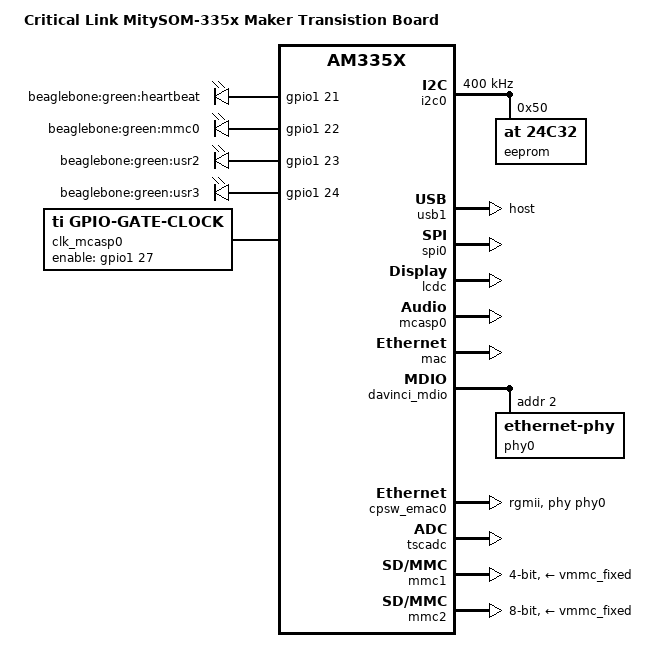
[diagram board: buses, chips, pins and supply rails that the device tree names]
/*
 * Copyright (C) 2012 Texas Instruments Incorporated - http://www.ti.com/
 *
 * This program is free software; you can redistribute it and/or modify
 * it under the terms of the GNU General Public License version 2 as
 * published by the Free Software Foundation.
 */
/dts-v1/;

#include "am335x-mitysom-common.dtsi"

/ {
	model = "Critical Link MitySOM-335x Maker Transistion Board";

	leds {
		pinctrl-names = "default", "sleep";
		pinctrl-0 = <&user_leds_default>;
		pinctrl-1 = <&user_leds_sleep>;

		compatible = "gpio-leds";

		led@2 {
			label = "beaglebone:green:heartbeat";
			gpios = <&gpio1 21 GPIO_ACTIVE_HIGH>;
			linux,default-trigger = "heartbeat";
			default-state = "off";
		};

		led@3 {
			label = "beaglebone:green:mmc0";
			gpios = <&gpio1 22 GPIO_ACTIVE_HIGH>;
			linux,default-trigger = "mmc0";
			default-state = "off";
		};

		led@4 {
			label = "beaglebone:green:usr2";
			gpios = <&gpio1 23 GPIO_ACTIVE_HIGH>;
			linux,default-trigger = "cpu0";
			default-state = "off";
		};

		led@5 {
			label = "beaglebone:green:usr3";
			gpios = <&gpio1 24 GPIO_ACTIVE_HIGH>;
			linux,default-trigger = "mmc1";
			default-state = "off";
		};
	};
};

&am33xx_pinmux {

	i2c0_pins: pinmux_i2c0_pins {
		pinctrl-single,pins = <
			AM33XX_IOPAD(0x988, PIN_INPUT_PULLUP | MUX_MODE0)	/* i2c0_sda.i2c0_sda */
			AM33XX_IOPAD(0x98C, PIN_INPUT_PULLUP | MUX_MODE0)	/* i2c0_scl.i2c0_scl */
		>;
	};

	/* EXPANSION 1 */
	uart3_pins: pinmux_uart3_pins {
		pinctrl-single,pins = <
			AM33XX_IOPAD(0x934, PIN_INPUT_PULLUP | MUX_MODE1)		/* mii1_rxd3.uart3_rxd */
			AM33XX_IOPAD(0x938, PIN_OUTPUT_PULLDOWN | MUX_MODE1)	/* mii1_rxd2.uart3_txd */
			AM33XX_IOPAD(0x92C, PIN_OUTPUT_PULLDOWN | MUX_MODE7)	/* mii1_tx_clk.gpio3_9 */
		>;
	};

	/* EXPANSION 0 */
	uart4_pins: pinmux_uart4_pins {
		pinctrl-single,pins = <
			AM33XX_IOPAD(0x968, PIN_INPUT_PULLUP | MUX_MODE1)		/* uart0_ctsn.uart4_rxd*/
			AM33XX_IOPAD(0x96C, PIN_OUTPUT_PULLDOWN | MUX_MODE1)	/* uart0_rtsn.uart4_txd */
			AM33XX_IOPAD(0x93C, PIN_OUTPUT_PULLDOWN | MUX_MODE7)	/*  mii1_rxd1.gpio2_20 */
		>;
	};

	user_leds_default: user_leds_default {
		pinctrl-single,pins = <
			AM33XX_IOPAD(0x854, PIN_OUTPUT_PULLDOWN | MUX_MODE7)	/* gpmc_a5.gpio1_21 */
			AM33XX_IOPAD(0x858, PIN_OUTPUT_PULLUP | MUX_MODE7)		/* gpmc_a6.gpio1_22 */
			AM33XX_IOPAD(0x85C, PIN_OUTPUT_PULLDOWN | MUX_MODE7)	/* gpmc_a7.gpio1_23 */
			AM33XX_IOPAD(0x860, PIN_OUTPUT_PULLUP | MUX_MODE7)		/* gpmc_a8.gpio1_24 */
		>;
	};

	user_leds_sleep: user_leds_sleep {
		pinctrl-single,pins = <
			AM33XX_IOPAD(0x854, PIN_INPUT_PULLDOWN | MUX_MODE7)	/* gpmc_a5.gpio1_21 */
			AM33XX_IOPAD(0x858, PIN_INPUT_PULLDOWN | MUX_MODE7)	/* gpmc_a6.gpio1_22 */
			AM33XX_IOPAD(0x85C, PIN_INPUT_PULLDOWN | MUX_MODE7)	/* gpmc_a7.gpio1_23 */
			AM33XX_IOPAD(0x860, PIN_INPUT_PULLDOWN | MUX_MODE7)	/* gpmc_a8.gpio1_24 */
		>;
	};

	spi0_pins: pinmux_spi0_pins {
		pinctrl-single,pins = <
			AM33XX_IOPAD(0x950, PIN_INPUT_PULLUP | MUX_MODE0)	/* spi0_sclk.spi0_sclk */
			AM33XX_IOPAD(0x954, PIN_INPUT_PULLUP | MUX_MODE0)	/* spi0_d0.spi0_d0 MOSI*/
			AM33XX_IOPAD(0x958, PIN_INPUT_PULLDOWN | MUX_MODE0)	/* spi0_d1.spi0_d1 MISO */
			AM33XX_IOPAD(0x95C, PIN_OUTPUT_PULLUP | MUX_MODE0)	/* spi0_cs0.spi0_cs0 */
			AM33XX_IOPAD(0x960, PIN_OUTPUT_PULLUP| MUX_MODE0)	/* spi0_cs1.spi0_cs1 */
		>;
	};

	spi0_sleep_pins: pinmux_spi0_sleep_pins {
		pinctrl-single,pins = <
			AM33XX_IOPAD(0x950, PIN_INPUT_PULLUP | MUX_MODE7)	/* spi0_sclk.spi0_sclk */
			AM33XX_IOPAD(0x954, PIN_INPUT_PULLUP | MUX_MODE7)	/* spi0_d0.spi0_d0 MOSI */
			AM33XX_IOPAD(0x958, PIN_INPUT_PULLUP | MUX_MODE7)	/* spi0_d1.spi0_d1 MISO */
			AM33XX_IOPAD(0x95C, PIN_INPUT_PULLUP | MUX_MODE7)	/* spi0_cs0.spi0_cs0 */
			AM33XX_IOPAD(0x960, PIN_INPUT_PULLUP | MUX_MODE7)	/* spi0_cs1.spi0_cs1 */
		>;
	};

	/* RGMII1 - Not used on devkit, conflicts with UART3/4 */
	cpsw_1_default: cpsw_1_default {
		pinctrl-single,pins = <
			/* Slave 1 */
			AM33XX_IOPAD(0x914, PIN_OUTPUT_PULLDOWN | MUX_MODE2)	/* mii1_txen.rgmii1_tctl */
			AM33XX_IOPAD(0x918, PIN_INPUT_PULLDOWN | MUX_MODE2)		/* mii1_rxdv.rgmii1_rctl */
			AM33XX_IOPAD(0x91C, PIN_OUTPUT_PULLDOWN | MUX_MODE2)	/* mii1_txd3.rgmii1_td3 */
			AM33XX_IOPAD(0x920, PIN_OUTPUT_PULLDOWN | MUX_MODE2)	/* mii1_txd2.rgmii1_td2 */
			AM33XX_IOPAD(0x924, PIN_OUTPUT_PULLDOWN | MUX_MODE2)	/* mii1_txd1.rgmii1_td1 */
			AM33XX_IOPAD(0x928, PIN_OUTPUT_PULLDOWN | MUX_MODE2)	/* mii1_txd0.rgmii1_td0 */
			AM33XX_IOPAD(0x92C, PIN_OUTPUT_PULLDOWN | MUX_MODE2)	/* mii1_txclk.rgmii1_tclk */
			AM33XX_IOPAD(0x930, PIN_INPUT_PULLDOWN | MUX_MODE2)	/* mii1_rxclk.rgmii1_rclk */
			AM33XX_IOPAD(0x934, PIN_INPUT_PULLDOWN | MUX_MODE2)	/* mii1_rxd3.rgmii1_rd3 */
			AM33XX_IOPAD(0x938, PIN_INPUT_PULLDOWN | MUX_MODE2)	/* mii1_rxd2.rgmii1_rd2 */
			AM33XX_IOPAD(0x93C, PIN_INPUT_PULLDOWN | MUX_MODE2)	/* mii1_rxd1.rgmii1_rd1 */
			AM33XX_IOPAD(0x940, PIN_INPUT_PULLDOWN | MUX_MODE2)	/* mii1_rxd0.rgmii1_rd0 */
		>;
	};

	cpsw_1_sleep: cpsw_1_sleep {
		pinctrl-single,pins = <
			/* Slave 1 reset value */
			AM33XX_IOPAD(0x914, PIN_INPUT_PULLDOWN | MUX_MODE7)
			AM33XX_IOPAD(0x918, PIN_INPUT_PULLDOWN | MUX_MODE7)
			AM33XX_IOPAD(0x91C, PIN_INPUT_PULLDOWN | MUX_MODE7)
			AM33XX_IOPAD(0x920, PIN_INPUT_PULLDOWN | MUX_MODE7)
			AM33XX_IOPAD(0x924, PIN_INPUT_PULLDOWN | MUX_MODE7)
			AM33XX_IOPAD(0x928, PIN_INPUT_PULLDOWN | MUX_MODE7)
			AM33XX_IOPAD(0x92C, PIN_INPUT_PULLDOWN | MUX_MODE7)
			AM33XX_IOPAD(0x930, PIN_INPUT_PULLDOWN | MUX_MODE7)
			AM33XX_IOPAD(0x934, PIN_INPUT_PULLDOWN | MUX_MODE7)
			AM33XX_IOPAD(0x938, PIN_INPUT_PULLDOWN | MUX_MODE7)
			AM33XX_IOPAD(0x93C, PIN_INPUT_PULLDOWN | MUX_MODE7)
			AM33XX_IOPAD(0x940, PIN_INPUT_PULLDOWN | MUX_MODE7)
		>;
	};

	/* RGMII2 */
	cpsw_2_default: cpsw_2_default {
		pinctrl-single,pins = <
			/* Slave 2 */
			AM33XX_IOPAD(0x840, PIN_OUTPUT | MUX_MODE2)			/* gpmc_a0.rgmii2_tctl */
			AM33XX_IOPAD(0x844, PIN_INPUT_PULLDOWN | MUX_MODE2)	/* gpmc_a1.rgmii2_rctl */
			AM33XX_IOPAD(0x848, PIN_OUTPUT | MUX_MODE2)			/* gpmc_a2.rgmii2_td3  */
			AM33XX_IOPAD(0x84C, PIN_OUTPUT | MUX_MODE2)			/* gpmc_a3.rgmii2_td2  */
			AM33XX_IOPAD(0x850, PIN_OUTPUT | MUX_MODE2)			/* gpmc_a4.rgmii2_td1  */
			AM33XX_IOPAD(0x854, PIN_OUTPUT | MUX_MODE2)			/* gpmc_a5.rgmii2_td0  */
			AM33XX_IOPAD(0x858, PIN_OUTPUT | MUX_MODE2)			/* gpmc_a6.rgmii2_tclk */
			AM33XX_IOPAD(0x85C, PIN_INPUT_PULLDOWN | MUX_MODE2)	/* gpmc_a7.rgmii2_rclk */
			AM33XX_IOPAD(0x860, PIN_INPUT_PULLDOWN | MUX_MODE2)	/* gpmc_a8.rgmii2_rd3  */
			AM33XX_IOPAD(0x864, PIN_INPUT_PULLDOWN | MUX_MODE2)	/* gpmc_a9.rgmii2_rd2  */
			AM33XX_IOPAD(0x868, PIN_INPUT_PULLDOWN | MUX_MODE2)	/* gpmc_a10.rgmii2_rd1 */
			AM33XX_IOPAD(0x86C, PIN_INPUT_PULLDOWN | MUX_MODE2)	/* gpmc_a11.rgmii2_rd0 */
		>;
	};

	cpsw_2_sleep: cpsw_2_sleep {
		pinctrl-single,pins = <
			/* Slave 2 reset value */
			AM33XX_IOPAD(0x840, PIN_OUTPUT | MUX_MODE2)			/* gpmc_a0.rgmii2_tctl */
			AM33XX_IOPAD(0x844, PIN_INPUT_PULLDOWN | MUX_MODE2)	/* gpmc_a1.rgmii2_rctl */
			AM33XX_IOPAD(0x848, PIN_OUTPUT | MUX_MODE2)			/* gpmc_a2.rgmii2_td3  */
			AM33XX_IOPAD(0x84C, PIN_OUTPUT | MUX_MODE2)			/* gpmc_a3.rgmii2_td2  */
			AM33XX_IOPAD(0x850, PIN_OUTPUT | MUX_MODE2)			/* gpmc_a4.rgmii2_td1  */
			AM33XX_IOPAD(0x854, PIN_OUTPUT | MUX_MODE2)			/* gpmc_a5.rgmii2_td0  */
			AM33XX_IOPAD(0x858, PIN_OUTPUT | MUX_MODE2)			/* gpmc_a6.rgmii2_tclk */
			AM33XX_IOPAD(0x85C, PIN_INPUT_PULLDOWN | MUX_MODE2)	/* gpmc_a7.rgmii2_rclk */
			AM33XX_IOPAD(0x860, PIN_INPUT_PULLDOWN | MUX_MODE2)	/* gpmc_a8.rgmii2_rd3  */
			AM33XX_IOPAD(0x864, PIN_INPUT_PULLDOWN | MUX_MODE2)	/* gpmc_a9.rgmii2_rd2  */
			AM33XX_IOPAD(0x868, PIN_INPUT_PULLDOWN | MUX_MODE2)	/* gpmc_a10.rgmii2_rd1 */
			AM33XX_IOPAD(0x86C, PIN_INPUT_PULLDOWN | MUX_MODE2)	/* gpmc_a11.rgmii2_rd0 */
		>;
	};

	davinci_mdio_default: davinci_mdio_default {
		pinctrl-single,pins = <
			/* MDIO */
			AM33XX_IOPAD(0x948, PIN_INPUT_PULLUP | SLEWCTRL_FAST| MUX_MODE0)	/* mdio_data.mdio_data */
			AM33XX_IOPAD(0x94C, PIN_OUTPUT_PULLUP | MUX_MODE0)					/* mdio_clk.mdio_clk */
		>;
	};

	davinci_mdio_sleep: davinci_mdio_sleep {
		pinctrl-single,pins = <
			/* MDIO reset value */
			AM33XX_IOPAD(0x948, PIN_INPUT_PULLDOWN | MUX_MODE7)
			AM33XX_IOPAD(0x94C, PIN_INPUT_PULLDOWN | MUX_MODE7)
		>;
	};

	mmc1_pins_default: pinmux_mmc1_pins {
		pinctrl-single,pins = <
			AM33XX_IOPAD(0x8F0, PIN_INPUT_PULLUP | MUX_MODE0)    /* mmc0_dat3.mmc0_dat3 */
			AM33XX_IOPAD(0x8F4, PIN_INPUT_PULLUP | MUX_MODE0)    /* mmc0_dat2.mmc0_dat2 */
			AM33XX_IOPAD(0x8F8, PIN_INPUT_PULLUP | MUX_MODE0)    /* mmc0_dat1.mmc0_dat1 */
			AM33XX_IOPAD(0x8FC, PIN_INPUT_PULLUP | MUX_MODE0)    /* mmc0_dat0.mmc0_dat0 */
			AM33XX_IOPAD(0x900, PIN_INPUT_PULLUP | MUX_MODE0)    /* mmc0_clk.mmc0_clk */
			AM33XX_IOPAD(0x904, PIN_INPUT_PULLUP | MUX_MODE0)    /* mmc0_cmd.mmc0_cmd */
		>;
	};

	mmc1_pins_sleep: pinmux_mmc1_pins_sleep {
		pinctrl-single,pins = <
			AM33XX_IOPAD(0x8F0, PIN_INPUT_PULLUP | MUX_MODE0)    /* mmc0_dat3.mmc0_dat3 */
			AM33XX_IOPAD(0x8F4, PIN_INPUT_PULLUP | MUX_MODE0)    /* mmc0_dat2.mmc0_dat2 */
			AM33XX_IOPAD(0x8F8, PIN_INPUT_PULLUP | MUX_MODE0)    /* mmc0_dat1.mmc0_dat1 */
			AM33XX_IOPAD(0x8FC, PIN_INPUT_PULLUP | MUX_MODE0)    /* mmc0_dat0.mmc0_dat0 */
			AM33XX_IOPAD(0x900, PIN_INPUT_PULLUP | MUX_MODE0)    /* mmc0_clk.mmc0_clk */
			AM33XX_IOPAD(0x904, PIN_INPUT_PULLUP | MUX_MODE0)    /* mmc0_cmd.mmc0_cmd */
		>;
	};

	/* eMMC - Conflicts with Nand */
	emmc_pins: pinmux_emmc_pins {
		pinctrl-single,pins = <
			AM33XX_IOPAD(0x880, PIN_INPUT_PULLUP | MUX_MODE2) /* gpmc_csn1.mmc1_clk */
			AM33XX_IOPAD(0x884, PIN_INPUT_PULLUP | MUX_MODE2) /* gpmc_csn2.mmc1_cmd */
			AM33XX_IOPAD(0x800, PIN_INPUT_PULLUP | MUX_MODE1) /* gpmc_ad0.mmc1_dat0 */
			AM33XX_IOPAD(0x804, PIN_INPUT_PULLUP | MUX_MODE1) /* gpmc_ad1.mmc1_dat1 */
			AM33XX_IOPAD(0x808, PIN_INPUT_PULLUP | MUX_MODE1) /* gpmc_ad2.mmc1_dat2 */
			AM33XX_IOPAD(0x80C, PIN_INPUT_PULLUP | MUX_MODE1) /* gpmc_ad3.mmc1_dat3 */
			AM33XX_IOPAD(0x810, PIN_INPUT_PULLUP | MUX_MODE1) /* gpmc_ad4.mmc1_dat4 */
			AM33XX_IOPAD(0x814, PIN_INPUT_PULLUP | MUX_MODE1) /* gpmc_ad5.mmc1_dat5 */
			AM33XX_IOPAD(0x818, PIN_INPUT_PULLUP | MUX_MODE1) /* gpmc_ad6.mmc1_dat6 */
			AM33XX_IOPAD(0x81C, PIN_INPUT_PULLUP | MUX_MODE1) /* gpmc_ad7.mmc1_dat7 */
		>;
	};

	lcd_pins_default: lcd_pins_default {
		pinctrl-single,pins = <
			AM33XX_IOPAD(0x9B0, PIN_OUTPUT | MUX_MODE3)			/* xdma_event_intr0.clkout1 */
			AM33XX_IOPAD(0x8A0, PIN_OUTPUT | MUX_MODE0)			/* lcd_data0.lcd_data0 */
			AM33XX_IOPAD(0x8A4, PIN_OUTPUT | MUX_MODE0)			/* lcd_data1.lcd_data1 */
			AM33XX_IOPAD(0x8A8, PIN_OUTPUT | MUX_MODE0)			/* lcd_data2.lcd_data2 */
			AM33XX_IOPAD(0x8AC, PIN_OUTPUT | MUX_MODE0)			/* lcd_data3.lcd_data3 */
			AM33XX_IOPAD(0x8B0, PIN_OUTPUT | MUX_MODE0)			/* lcd_data4.lcd_data4 */
			AM33XX_IOPAD(0x8B4, PIN_OUTPUT | MUX_MODE0)			/* lcd_data5.lcd_data5 */
			AM33XX_IOPAD(0x8B8, PIN_OUTPUT | MUX_MODE0)			/* lcd_data6.lcd_data6 */
			AM33XX_IOPAD(0x8BC, PIN_OUTPUT | MUX_MODE0)			/* lcd_data7.lcd_data7 */
			AM33XX_IOPAD(0x8C0, PIN_OUTPUT | MUX_MODE0)			/* lcd_data8.lcd_data8 */
			AM33XX_IOPAD(0x8C4, PIN_OUTPUT | MUX_MODE0)			/* lcd_data9.lcd_data9 */
			AM33XX_IOPAD(0x8C8, PIN_OUTPUT | MUX_MODE0)			/* lcd_data10.lcd_data10 */
			AM33XX_IOPAD(0x8CC, PIN_OUTPUT | MUX_MODE0)			/* lcd_data11.lcd_data11 */
			AM33XX_IOPAD(0x8D0, PIN_OUTPUT | MUX_MODE0)			/* lcd_data12.lcd_data12 */
			AM33XX_IOPAD(0x8D4, PIN_OUTPUT | MUX_MODE0)			/* lcd_data13.lcd_data13 */
			AM33XX_IOPAD(0x8D8, PIN_OUTPUT | MUX_MODE0)			/* lcd_data14.lcd_data14 */
			AM33XX_IOPAD(0x8DC, PIN_OUTPUT | MUX_MODE0)			/* lcd_data15.lcd_data15 */
			AM33XX_IOPAD(0x8E0, PIN_OUTPUT_PULLDOWN | MUX_MODE0)	/* lcd_vsync.lcd_vsync */
			AM33XX_IOPAD(0x8E4, PIN_OUTPUT_PULLDOWN | MUX_MODE0)	/* lcd_hsync.lcd_hsync */
			AM33XX_IOPAD(0x8E8, PIN_OUTPUT_PULLDOWN | MUX_MODE0)	/* lcd_pclk.lcd_pclk */
			AM33XX_IOPAD(0x8EC, PIN_OUTPUT_PULLDOWN | MUX_MODE0)	/* lcd_ac_bias_en.lcd_ac_bias_en */
		>;
	};

	lcd_pins_sleep: lcd_pins_sleep {
		pinctrl-single,pins = <
			AM33XX_IOPAD(0x9b0, PIN_OUTPUT | MUX_MODE3)			/* xdma_event_intr0.clkout1 */
			AM33XX_IOPAD(0x8A0, PULL_DISABLE | MUX_MODE7)		/* lcd_data0.lcd_data0 */
			AM33XX_IOPAD(0x8A4, PULL_DISABLE | MUX_MODE7)		/* lcd_data1.lcd_data1 */
			AM33XX_IOPAD(0x8A8, PULL_DISABLE | MUX_MODE7)		/* lcd_data2.lcd_data2 */
			AM33XX_IOPAD(0x8AC, PULL_DISABLE | MUX_MODE7)		/* lcd_data3.lcd_data3 */
			AM33XX_IOPAD(0x8B0, PULL_DISABLE | MUX_MODE7)		/* lcd_data4.lcd_data4 */
			AM33XX_IOPAD(0x8B4, PULL_DISABLE | MUX_MODE7)		/* lcd_data5.lcd_data5 */
			AM33XX_IOPAD(0x8B8, PULL_DISABLE | MUX_MODE7)		/* lcd_data6.lcd_data6 */
			AM33XX_IOPAD(0x8BC, PULL_DISABLE | MUX_MODE7)		/* lcd_data7.lcd_data7 */
			AM33XX_IOPAD(0x8C0, PULL_DISABLE | MUX_MODE7)		/* lcd_data8.lcd_data8 */
			AM33XX_IOPAD(0x8C4, PULL_DISABLE | MUX_MODE7)		/* lcd_data9.lcd_data9 */
			AM33XX_IOPAD(0x8C8, PULL_DISABLE | MUX_MODE7)		/* lcd_data10.lcd_data10 */
			AM33XX_IOPAD(0x8CC, PULL_DISABLE | MUX_MODE7)		/* lcd_data11.lcd_data11 */
			AM33XX_IOPAD(0x8D0, PULL_DISABLE | MUX_MODE7)		/* lcd_data12.lcd_data12 */
			AM33XX_IOPAD(0x8D4, PULL_DISABLE | MUX_MODE7)		/* lcd_data13.lcd_data13 */
			AM33XX_IOPAD(0x8D8, PULL_DISABLE | MUX_MODE7)		/* lcd_data14.lcd_data14 */
			AM33XX_IOPAD(0x8DC, PULL_DISABLE | MUX_MODE7)		/* lcd_data15.lcd_data15 */
			AM33XX_IOPAD(0x8E0, PIN_INPUT_PULLDOWN | MUX_MODE7)	/* lcd_vsync.lcd_vsync */
			AM33XX_IOPAD(0x8E4, PIN_INPUT_PULLDOWN | MUX_MODE7)	/* lcd_hsync.lcd_hsync */
			AM33XX_IOPAD(0x8E8, PIN_INPUT_PULLDOWN | MUX_MODE7)	/* lcd_pclk.lcd_pclk */
			AM33XX_IOPAD(0x8EC, PIN_INPUT_PULLDOWN | MUX_MODE7)	/* lcd_ac_bias_en.lcd_ac_bias_en */
		>;
	};

	mcasp0_pins: mcasp0_pins {
		pinctrl-single,pins = <
			AM33XX_IOPAD(0x9AC, PIN_INPUT_PULLUP | MUX_MODE0)		/* mcasp0_ahclkx.mcasp0_ahclkx */
			AM33XX_IOPAD(0x9A0, PIN_OUTPUT_PULLDOWN | MUX_MODE2)	/* mcasp0_aclkr.mcasp0_axr2 */
			AM33XX_IOPAD(0x994, PIN_OUTPUT_PULLUP | MUX_MODE0)		/* mcasp0_fsx.mcasp0_fsx */
			AM33XX_IOPAD(0x990, PIN_OUTPUT_PULLDOWN | MUX_MODE0)	/* mcasp0_aclkx.mcasp0_aclkx */
			AM33XX_IOPAD(0x86C, PIN_OUTPUT_PULLDOWN | MUX_MODE7)	/* gpmc_a11.GPIO1_27 */
		>;
	};

	mcasp0_pins_sleep: mcasp0_pins_sleep {
		pinctrl-single,pins = <
			AM33XX_IOPAD(0x9AC, PIN_INPUT_PULLDOWN | MUX_MODE7)	/* mcasp0_ahclkx.mcasp0_ahclkx */
			AM33XX_IOPAD(0x9A0, PIN_INPUT_PULLDOWN | MUX_MODE7)	/* mcasp0_aclkr.mcasp0_axr2 */
			AM33XX_IOPAD(0x994, PIN_INPUT_PULLDOWN | MUX_MODE7)	/* mcasp0_fsx.mcasp0_fsx */
			AM33XX_IOPAD(0x990, PIN_INPUT_PULLDOWN | MUX_MODE7)	/* mcasp0_aclkx.mcasp0_aclkx */
			AM33XX_IOPAD(0x86C, PIN_INPUT_PULLDOWN | MUX_MODE7)	/* gpmc_a11.GPIO1_27 */
		>;
	};

	dcan0_pins_default: dcan0_pins_default {
		pinctrl-single,pins = <
			AM33XX_IOPAD(0x91C, PIN_OUTPUT | MUX_MODE1) 		/* mii1_txd3.d_can0_tx */
			AM33XX_IOPAD(0x920, PIN_INPUT_PULLDOWN | MUX_MODE1) /* mii1_txd2.d_can1_rxd */
		>;
	};

	dcan1_pins_default: dcan1_pins_default {
		pinctrl-single,pins = <
			AM33XX_IOPAD(0x980, PIN_OUTPUT | MUX_MODE2) 		/* uart1_rxd.dcan1_txd */
			AM33XX_IOPAD(0x984, PIN_INPUT_PULLDOWN | MUX_MODE2) /* uart1_txd.dcan1_rxd */
		>;
	};
};

&i2c0 {
	pinctrl-names = "default";
	pinctrl-0 = <&i2c0_pins>;

	status = "okay";
	clock-frequency = <400000>;

	eeprom: eeprom@50 {
		compatible = "at,24c32";
		reg = <0x50>;
		pagesize = <32>; /* 32-byte pages */
		size = <0x1000>; /* 32K byte */
	};
};

&usb1 {
	/* Host only port */
	dr_mode = "host";
};

&spi0 {
	pinctrl-names = "default", "sleep";
	pinctrl-0 = <&spi0_pins>;
	pinctrl-1 = <&spi0_sleep_pins>;

	status = "okay";
	ti,pindir-d0-out-d1-in = <1>;
};

/* LCD */
&spi1 {
	/* Conflicts with HDMI Audio */
	status = "disabled";
};

&lcdc {
	status = "okay";
};

&mcasp0	{
	pinctrl-names = "default", "sleep";
	pinctrl-0 = <&mcasp0_pins>;
	pinctrl-1 = <&mcasp0_pins_sleep>;
	status = "okay";
	op-mode = <0>;	/* MCASP_IIS_MODE */
	tdm-slots = <2>;
	serial-dir = <	/* 0: INACTIVE, 1: TX, 2: RX */
			0 0 1 0
		>;
	tx-num-evt = <1>;
	rx-num-evt = <1>;
};

/ {
	hdmi {
		compatible = "ti,tilcdc,slave";
		i2c = <&i2c0>;
		pinctrl-names = "default", "off";
		pinctrl-0 = <&lcd_pins_default>;
		pinctrl-1 = <&lcd_pins_sleep>;
		status = "okay";
	};

	clk_mcasp0_fixed: clk_mcasp0_fixed {
	      #clock-cells = <0>;
	      compatible = "fixed-clock";
	      clock-frequency = <24576000>;
	};

	clk_mcasp0: clk_mcasp0 {
	      #clock-cells = <0>;
	      compatible = "ti,gpio-gate-clock";
	      clocks = <&clk_mcasp0_fixed>;
	      enable-gpios = <&gpio1 27 0>; /* BeagleBone Black Clk enable on GPIO1_27 */
	};

	hdmi_audio: hdmi_audio@0 {
	       compatible = "linux,hdmi-audio";
	       status = "okay";
	};

	sound {
		compatible = "ti,beaglebone-black-audio";
		ti,model = "TI BeagleBone Black";
		ti,audio-codec = <&hdmi_audio>;
		ti,mcasp-controller = <&mcasp0>;
		ti,audio-routing =
			"HDMI Out",	"TX";
		clocks = <&clk_mcasp0>;
		clock-names = "mclk";
	};
};

/* Ethernet */
&mac {
	pinctrl-names = "default", "sleep";
	pinctrl-0 = <&cpsw_1_default>;
	pinctrl-1 = <&cpsw_1_sleep>;
	slave = <1>;
	status = "okay";
	// dual_emac; /* Enable for boards with two eth ports */
};

&davinci_mdio {
	pinctrl-names = "default", "sleep";
	pinctrl-0 = <&davinci_mdio_default>;
	pinctrl-1 = <&davinci_mdio_sleep>;
	status = "okay";

	phy0: ethernet-phy@0 {
		reg = <2>;
		/* Restrict phy to 10/100 due to magnetics */
		max-speed = <100>;
	};
};

&cpsw_emac0 {
	phy-handle = <&phy0>;
	phy-mode = "rgmii";
	dual_emac_res_vlan = <1>;
};

/* ADC and Touchscreen */
&tscadc {
	status = "okay";
	tsc {
		ti,wires = <4>;
		ti,x-plate-resistance = <200>;
		ti,coordinate-readouts = <5>;
		ti,wire-config = <0x00 0x11 0x22 0x33>;
	};

	adc {
		ti,adc-channels = <4 5 6 7>;
	};
};

/* SD Card */
&mmc1 {
	status = "okay";
	vmmc-supply = <&vmmc_fixed>;
	bus-width = <4>;
	pinctrl-names = "default", "sleep";
	pinctrl-0 = <&mmc1_pins_default>;
	pinctrl-1 = <&mmc1_pins_sleep>;
};

/* eMMC */
&mmc2 {
	/* Conflicts with Nand */
	status = "okay";
	vmmc-supply = <&vmmc_fixed>;
	pinctrl-names = "default";
	pinctrl-0 = <&emmc_pins>;
	bus-width = <8>;
};

&gpmc {
	/* Conflicts with eMMC */
	status = "disabled";
};
